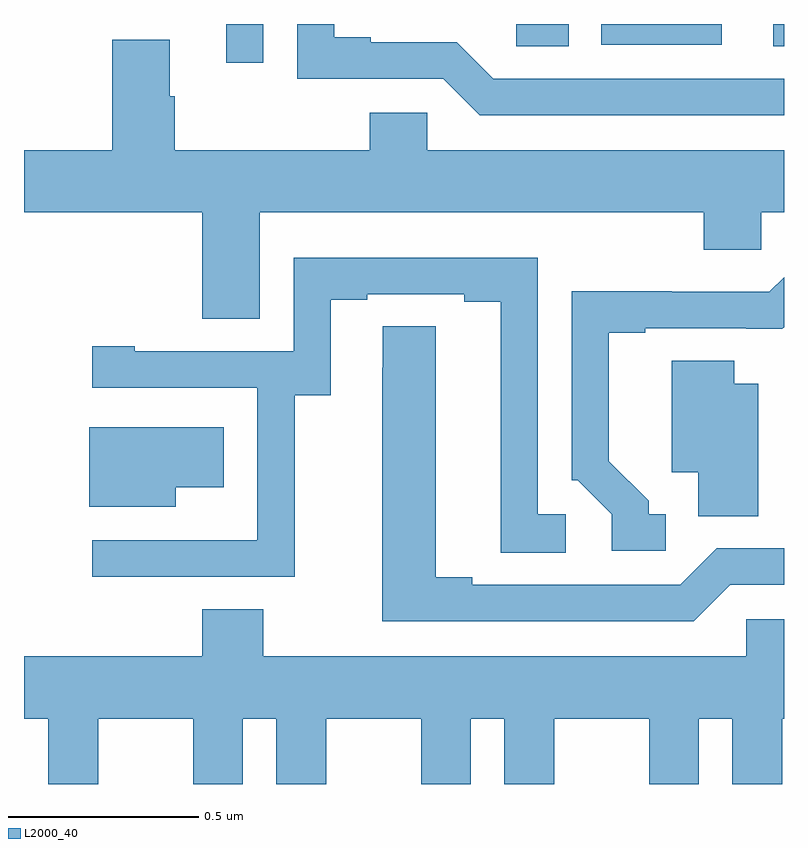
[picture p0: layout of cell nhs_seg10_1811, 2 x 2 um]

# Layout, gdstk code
import gdstk
lib = gdstk.Library(unit=1e-6, precision=1e-09)
def R(c, l, rs):  # rectangles x0, y0, x1, y1
    for r in rs: c.add(gdstk.rectangle(r[:2], r[2:], *l))
def P(c, l, *ps):  # polygons
    for p in ps: c.add(gdstk.Polygon(p, *l))
L2000_40 = (2000, 40)

nhs_seg10_1811 = lib.new_cell('nhs_seg10_1811')
R(nhs_seg10_1811, L2000_40, [(133.532,1279.398,133.629,1279.5), (134.295,1279.441,134.434,1279.5), (134.972,1279.441,135,1279.5), (134.519,1279.445,134.836,1279.5)])
P(nhs_seg10_1811, L2000_40, [(135,1279.356),(134.235,1279.356),(134.139,1279.452),(133.912,1279.452),(133.912,1279.465),(133.816,1279.465),(133.816,1279.5),(133.719,1279.5),(133.719,1279.356),(134.103,1279.356),(134.199,1279.26),(135,1279.26)],
  [(133.621,1279.004),(134.789,1279.004),(134.789,1278.906),(134.94,1278.906),(134.94,1279.004),(135,1279.004),(135,1279.168),(134.061,1279.168),(134.061,1279.266),(133.91,1279.266),(133.91,1279.168),(133.397,1279.168),(133.397,1279.31),(133.384,1279.31),(133.384,1279.459),(133.232,1279.459),(133.232,1279.168),(133,1279.168),(133,1279.004),(133.469,1279.004),(133.469,1278.724),(133.621,1278.724)],
  [(133.713,1278.523),(133.807,1278.523),(133.807,1278.774),(133.903,1278.774),(133.903,1278.789),(134.159,1278.789),(134.159,1278.769),(134.255,1278.769),(134.255,1278.109),(134.425,1278.109),(134.425,1278.21),(134.352,1278.21),(134.352,1278.885),(133.71,1278.885),(133.71,1278.639),(133.291,1278.639),(133.291,1278.652),(133.179,1278.652),(133.179,1278.543),(133.614,1278.543),(133.614,1278.142),(133.613,1278.142),(133.613,1278.141),(133.179,1278.141),(133.179,1278.045),(133.713,1278.045)],
  [(134.689,1278.21),(134.644,1278.21),(134.644,1278.245),(134.539,1278.35),(134.539,1278.687),(134.635,1278.687),(134.635,1278.699),(134.9,1278.699),(134.9,1278.698),(134.996,1278.698),(135,1278.702),(135,1278.834),(134.961,1278.795),(134.705,1278.795),(134.705,1278.797),(134.442,1278.797),(134.442,1278.3),(134.457,1278.3),(134.547,1278.21),(134.547,1278.114),(134.689,1278.114)],
  [(134.859,1278.024),(135,1278.024),(135,1278.12),(134.823,1278.12),(134.727,1278.024),(134.179,1278.024),(134.179,1278.044),(134.083,1278.044),(134.083,1278.704),(133.944,1278.704),(133.944,1278.596),(133.943,1278.596),(133.943,1277.928),(134.763,1277.928)],
  [(134.932,1278.553),(134.869,1278.553),(134.869,1278.614),(134.705,1278.614),(134.705,1278.32),(134.774,1278.32),(134.774,1278.205),(134.932,1278.205)],
  [(133.399,1278.281),(133.525,1278.281),(133.525,1278.439),(133.172,1278.439),(133.172,1278.23),(133.399,1278.23)],
  [(133.195,1277.672),(133.445,1277.672),(133.445,1277.5),(133.576,1277.5),(133.576,1277.672),(133.664,1277.672),(133.664,1277.5),(133.795,1277.5),(133.795,1277.672),(134.045,1277.672),(134.045,1277.5),(134.176,1277.5),(134.176,1277.672),(134.264,1277.672),(134.264,1277.5),(134.395,1277.5),(134.395,1277.672),(134.645,1277.672),(134.645,1277.5),(134.776,1277.5),(134.776,1277.672),(134.864,1277.672),(134.864,1277.5),(134.995,1277.5),(134.995,1277.672),(135,1277.672),(135,1277.934),(134.901,1277.934),(134.901,1277.836),(133.629,1277.836),(133.629,1277.96),(133.469,1277.96),(133.469,1277.836),(133,1277.836),(133,1277.672),(133.064,1277.672),(133.064,1277.5),(133.195,1277.5)])

lib.write_gds('nhs_seg10_1811.gds')
